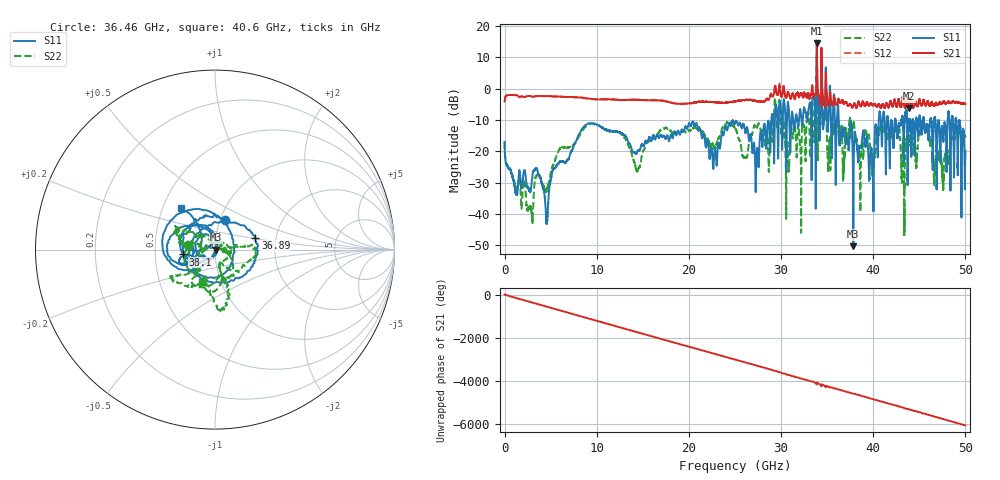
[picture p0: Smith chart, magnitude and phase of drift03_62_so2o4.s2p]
!Created with skrf (http://scikit-rf.org).
# Hz S RI R 50.0
!freq ReS11 ImS11 ReS21 ImS21 ReS12 ImS12 ReS22 ImS22
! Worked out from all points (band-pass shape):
!   10001 points, 300 kHz to 50 GHz, reference 50 ohm
!   highest |S21| = 14.47 dB at 33.88 GHz (marker M1); lowest = -6.2 dB at 43.87 GHz (marker M2)
!   |S21| within 3 dB of the highest: 33.86901 GHz to 33.8882 GHz (19.19 MHz wide, 0.0567 % of centre); 34.37659 GHz to 34.38834 GHz (11.75 MHz wide, 0.0342 % of centre)
!   lowest |S11| = -50.3 dB at 37.84 GHz (marker M3), VSWR 1.01, Z = 50.3 + j0.00443 ohm
!   |S11| at or under -10 dB: start of sweep to 28.94 GHz; 36.26 GHz to 40.6 GHz (4.337 GHz wide, 11.3 % of centre); 46.74 GHz to 48.08 GHz (1.333 GHz wide, 2.81 % of centre) (the widest 3 of 52)
!   |S22| runs from -47.5 to 11.2 dB; largest |S21 - S12| = 0.81
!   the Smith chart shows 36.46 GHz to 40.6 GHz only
!   S11 on the Smith chart (normalised r, x): 36.46 GHz: 1.06, +0.36; 36.89 GHz: 1.56, +0.22; 38.1 GHz: 0.70, -0.04; 40.6 GHz: 0.62, +0.31
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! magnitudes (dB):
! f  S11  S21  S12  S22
! 300 kHz  -17.1  -4.0  -4.0  -16.7
! 2.82 GHz  -32.7  -2.4  -2.4  -38.0
! 4.555 GHz  -43.3  -2.3  -2.3  -32.4
! 8.335 GHz  -13.1  -2.8  -2.8  -13.9
! 14.44 GHz  -19.9  -3.5  -3.5  -26.0
! 16.67 GHz  -15.4  -3.7  -3.7  -14.3
! 22.82 GHz  -19.3  -4.3  -4.3  -19.1
! 25 GHz  -11.0  -4.0  -4.0  -12.5
! 27.39 GHz  -19.4  -4.1  -4.1  -12.4
! 29.6 GHz  -10.5  -2.0  -2.1  -11.7
! 30.7 GHz  -5.8  -1.4  -1.5  -17.3
! 33.34 GHz  -14.3  -0.4  -0.5  -7.0
! 33.88 GHz  15.4  14.5  14.1  11.0
! 36.46 GHz  -15.1  -4.4  -4.4  -16.3
! 36.89 GHz  -12.6  -4.6  -4.5  -20.2
! 37.84 GHz  -50.3  -5.4  -5.5  -11.2
! 38.1 GHz  -15.0  -5.7  -5.6  -16.6
! 39.81 GHz  -19.4  -4.9  -4.8  -24.0
! 40.6 GHz  -10.5  -4.9  -4.8  -14.2
! 41.67 GHz  -12.3  -5.9  -5.9  -15.1
! 43.87 GHz  -10.2  -6.2  -6.2  -17.2
! 50 GHz  -19.8  -4.9  -4.9  -15.1
